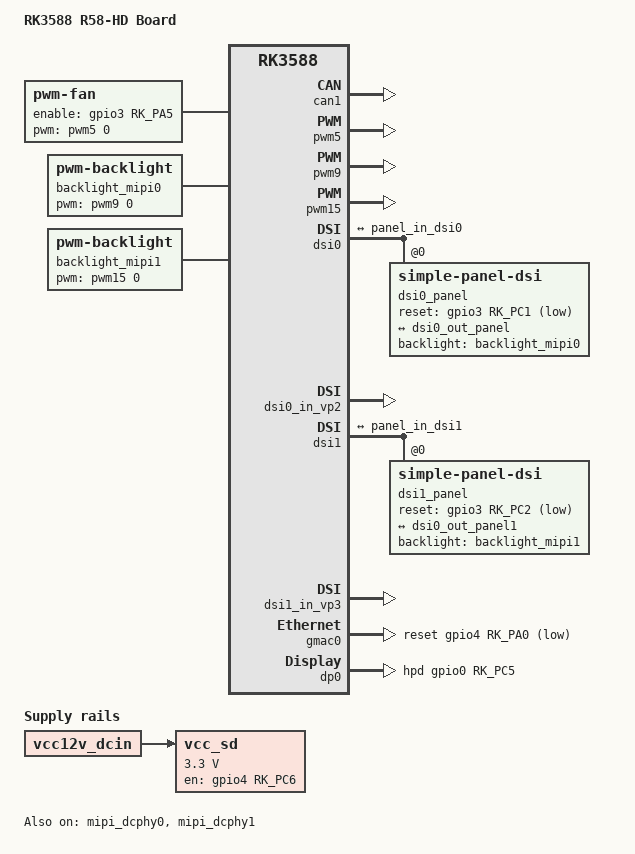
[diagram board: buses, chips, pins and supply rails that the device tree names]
// SPDX-License-Identifier: (GPL-2.0+ OR MIT)
/*
 * Copyright (c) 2021 Rockchip Electronics Co., Ltd.
 *
 */

/dts-v1/;

#include "rk3588-blueberry-r58-hd3.dtsi"
#include "rk3588-linux.dtsi"
#include "rk3588-blueberry-r58-hd3-rk628-hdmi2csi.dtsi"
/ {
	model = "RK3588 R58-HD Board";
	compatible = "rockchip,rk3588-R58-HD-v10-linux", "rockchip,rk3588";
	/delete-node/ chosen;

	fan{
		compatible = "pwm-fan";
		#cooling-cells = <2>;
		pwms = <&pwm5 0 50000 0>;
		cooling-levels = <0 50 100 150 200 255>;
		rockchip,temp-trips = <
				60000	1
				65000	2
				70000	3
				75000	4
				80000	5
		>;
		enable-gpios = <&gpio3 RK_PA5 GPIO_ACTIVE_HIGH>;
		pinctrl-names = "default";
		pinctrl-0 = <&fan_enable_gpio>;
	};	

//软件保留
	backlight_mipi0: backlight_mipi0 {
		compatible = "pwm-backlight";
		pwms = <&pwm9 0 25000 0>;
		brightness-levels = <
			  0  20  20  21  21  22  22  23
		>;
		default-brightness-level = <2>;
	};

//软件保留
	backlight_mipi1: backlight_mipi1 {
		compatible = "pwm-backlight";
		pwms = <&pwm15 0 25000 0>;
		brightness-levels = <
			  0  20  20  21  21  22  22  23
		>;
		default-brightness-level = <2>;
	};

};

&can1 {
	pinctrl-names = "default";
	pinctrl-0 = <&can1m1_pins>;
	status = "okay";
};

//风扇
&pwm4 {
	pinctrl-0 = <&pwm4m0_pins>;
	status = "disabled";
};

&pwm5 {
	pinctrl-0 = <&pwm5m1_pins>;
	status = "okay";
};


//mipi0
&pwm9 {
	pinctrl-0 = <&pwm9m0_pins>;
	status = "okay";
};

//mipi1
&pwm15 {
	pinctrl-0 = <&pwm15m2_pins>;
	status = "okay";
};

#if 1
&dsi0 {
	status = "okay";
	//rockchip,lane-rate = <120>;
	dsi0_panel: panel@0 {
		status = "okay";
		compatible = "simple-panel-dsi";
		reg = <0>;
		backlight = <&backlight_mipi0>;
		//power-supply = <&vcc3v3_mipi_lcd_power>;
		reset-gpios =  <&gpio3 RK_PC1 GPIO_ACTIVE_LOW>; 
		//enable-gpios = <&gpio3 RK_PC1 GPIO_ACTIVE_HIGH>;
		reset-delay-ms = <100>;
		enable-delay-ms = <10>;
		init-delay-ms = <100>;
		prepare-delay-ms = <100>;
		unprepare-delay-ms = <10>;
		disable-delay-ms = <60>;
		dsi,flags = <(MIPI_DSI_MODE_VIDEO | MIPI_DSI_MODE_VIDEO_BURST |
			MIPI_DSI_MODE_LPM | MIPI_DSI_MODE_NO_EOT_PACKET)>;
		dsi,format = <MIPI_DSI_FMT_RGB888>;
		dsi,lanes  = <4>;
		panel-init-sequence = [
			05 78 01 11
			05 78 01 29
		];

		panel-exit-sequence = [
			05 00 01 28
			05 00 01 10
		];

		display-timings {
			native-mode = <&timing0>;
			timing0: timing0 {
				clock-frequency = <148500000>;
				hactive = <1920>;
				vactive = <1080>;
				hback-porch = <148>;
				hfront-porch = <88>;
				hsync-len = <44>;
				vback-porch = <36>;
				vfront-porch = <4>;
				vsync-len = <5>;
				hsync-active = <0>;
				vsync-active = <0>;
				de-active = <0>;
				pixelclk-active = <0>;
			};
		};

		ports {
			#address-cells = <1>;
			#size-cells = <0>;

			port@0 {
				reg = <0>;
				panel_in_dsi0: endpoint {
					remote-endpoint = <&dsi0_out_panel>;
				};
			};
		};
	};

	ports {
		#address-cells = <1>;
		#size-cells = <0>;

		port@1 {
			reg = <1>;
			dsi0_out_panel: endpoint {
				remote-endpoint = <&panel_in_dsi0>;
			};
		};
	};

};

&mipi_dcphy0 {
	status = "okay";
};

&dsi0_in_vp2 {
	status = "okay";
};

&dsi0_in_vp3 {
	status = "disabled";
};

&route_dsi0 {
	status = "disabled";
	connect = <&vp2_out_dsi0>;
};

#endif

#if 1
&dsi1 {
	status = "okay";
	//rockchip,lane-rate = <120>;
	dsi1_panel: panel@1 {
		status = "okay";
		compatible = "simple-panel-dsi";
		reg = <0>;
		backlight = <&backlight_mipi1>;
		//power-supply = <&vcc3v3_mipi_lcd_power>;
		reset-gpios =  <&gpio3 RK_PC2 GPIO_ACTIVE_LOW>; 
		//enable-gpios = <&gpio3 RK_PC1 GPIO_ACTIVE_HIGH>;
		reset-delay-ms = <100>;
		enable-delay-ms = <10>;
		init-delay-ms = <100>;
		prepare-delay-ms = <100>;
		unprepare-delay-ms = <10>;
		disable-delay-ms = <60>;
		dsi,flags = <(MIPI_DSI_MODE_VIDEO | MIPI_DSI_MODE_VIDEO_BURST |
			MIPI_DSI_MODE_LPM | MIPI_DSI_MODE_NO_EOT_PACKET)>;
		dsi,format = <MIPI_DSI_FMT_RGB888>;
		dsi,lanes  = <4>;
		panel-init-sequence = [
			05 78 01 11
			05 78 01 29
		];

		panel-exit-sequence = [
			05 00 01 28
			05 00 01 10
		];

		display-timings {
			native-mode = <&timing1>;
			timing1: timing1 {
				clock-frequency = <148500000>;
				hactive = <1920>;
				vactive = <1080>;
				hback-porch = <148>;
				hfront-porch = <88>;
				hsync-len = <44>;
				vback-porch = <36>;
				vfront-porch = <4>;
				vsync-len = <5>;
				hsync-active = <0>;
				vsync-active = <0>;
				de-active = <0>;
				pixelclk-active = <0>;
			};
		};
		
		ports {
			#address-cells = <1>;
			#size-cells = <0>;

			port@0 {
				reg = <0>;
				panel_in_dsi1: endpoint {
					remote-endpoint = <&dsi0_out_panel1>;
				};
			};
		};
	};

	ports {
		#address-cells = <1>;
		#size-cells = <0>;

		port@1 {
			reg = <1>;
			dsi0_out_panel1: endpoint {
				remote-endpoint = <&panel_in_dsi1>;
			};
		};
	};

};

&mipi_dcphy1 {
	status = "okay";
};

&dsi1_in_vp3 {
	status = "okay";
};

&route_dsi1 {
	status = "disabled";
	connect = <&vp3_out_dsi1>;
};

#endif


&pinctrl {

	lt9611 {
		lt9611_reset_gpios: lt9611reset-gpios {
			rockchip,pins = <3 RK_PC1 RK_FUNC_GPIO &pcfg_pull_none>;
		};
	};

	fan_enable_gpio {  //v10-1  V09 GPIO0_A0 控制风扇
		fan_enable_gpio: fan_enable_gpio{
			rockchip,pins =
				<3 RK_PA5 RK_FUNC_GPIO &pcfg_pull_none>; 
		};
	};
};


&sdmmc_pwr {
	rockchip,pins = <4 RK_PC6 RK_FUNC_GPIO &pcfg_pull_none>;
};

&vcc_sd {
	compatible = "regulator-fixed";
	gpios = <&gpio4 RK_PC6 GPIO_ACTIVE_HIGH>;
	pinctrl-names = "default";
	pinctrl-0 = <&sdmmc_pwr>;
	regulator-always-on;
	regulator-boot-on;
	enable-active-high;
	regulator-name = "vcc_sd";
	regulator-min-microvolt = <3300000>;
	regulator-max-microvolt = <3300000>;
	startup-delay-us = <100000>;
	vin-supply = <&vcc12v_dcin>;
};


&gmac0 {
	snps,reset-gpio = <&gpio4 RK_PA0 GPIO_ACTIVE_LOW>;
};

//v10-2   V09版本 GPIO0_C5 作为4G 唤醒口
&DP0_HPDIN_gpio{
	rockchip,pins =
		<0 RK_PC5 RK_FUNC_GPIO &pcfg_pull_up>;
};
&dp0 {
	pinctrl-names = "default";
	pinctrl-0 = <&DP0_HPDIN_gpio>;
	hpd-gpios = <&gpio0 RK_PC5 GPIO_ACTIVE_HIGH>;
	split-mode;
	status = "okay";
};

&lt6911_sound {
	compatible;
	simple-audio-card,format = "i2s";
	simple-audio-card,name = "rockchip,lt6911";
	simple-audio-card,bitclock-master ;
	simple-audio-card,frame-master ;
	status = "disabled";
	simple-audio-card,cpu {
	sound-dai ;
	};
	dailink1_master: simple-audio-card,codec {
	sound-dai ;
	};
};	
